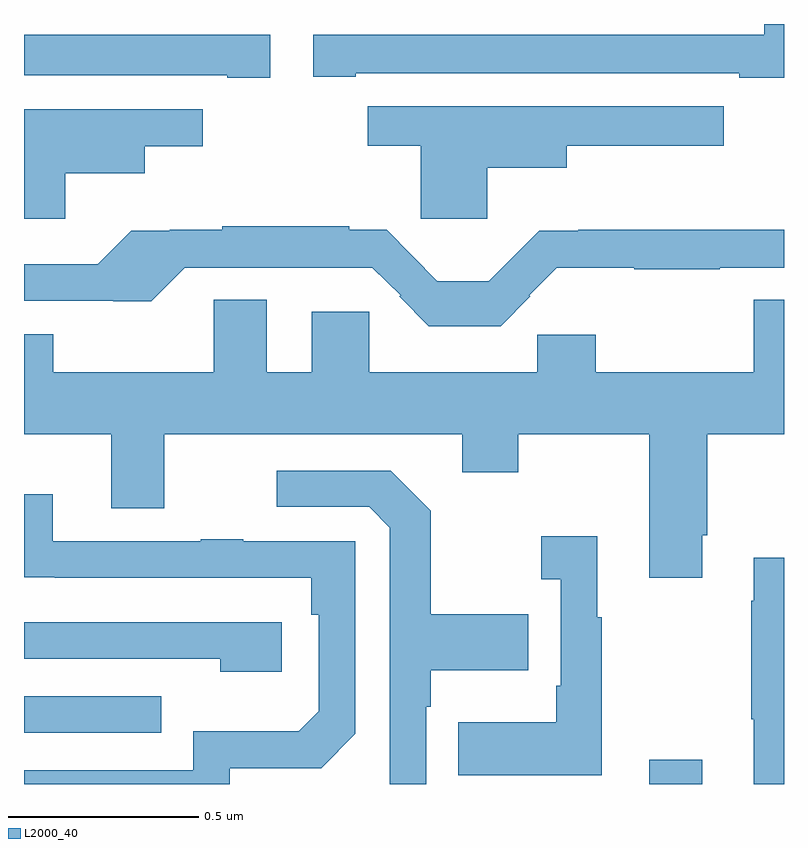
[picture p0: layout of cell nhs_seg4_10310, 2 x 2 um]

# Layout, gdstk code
import gdstk
lib = gdstk.Library(unit=1e-6, precision=1e-09)
def R(c, l, rs):  # rectangles x0, y0, x1, y1
    for r in rs: c.add(gdstk.rectangle(r[:2], r[2:], *l))
def P(c, l, *ps):  # polygons
    for p in ps: c.add(gdstk.Polygon(p, *l))
L2000_40 = (2000, 40)

nhs_seg4_10310 = lib.new_cell('nhs_seg4_10310')
R(nhs_seg4_10310, L2000_40, [(239.645,795.9,239.785,795.964), (238,796.035,238.361,796.131)])
P(nhs_seg4_10310, L2000_40, [(240,797.9),(239.948,797.9),(239.948,797.872),(238.761,797.872),(238.761,797.761),(238.873,797.761),(238.873,797.771),(239.882,797.771),(239.882,797.759),(240,797.759)],
  [(238.648,797.872),(238,797.872),(238,797.765),(238.535,797.765),(238.535,797.758),(238.648,797.758)],
  [(239.219,797.522),(239.428,797.522),(239.428,797.579),(239.842,797.579),(239.842,797.683),(238.905,797.683),(238.905,797.579),(239.044,797.579),(239.044,797.388),(239.219,797.388)],
  [(238.109,797.507),(238.318,797.507),(238.318,797.578),(238.471,797.578),(238.471,797.676),(238,797.676),(238,797.388),(238.109,797.388)],
  [(239.332,797.183),(239.33,797.186),(239.402,797.258),(239.606,797.258),(239.606,797.254),(239.831,797.254),(239.831,797.259),(240,797.259),(240,797.358),(239.458,797.358),(239.458,797.356),(239.356,797.356),(239.223,797.223),(239.088,797.223),(238.954,797.358),(238.856,797.358),(238.856,797.368),(238.522,797.368),(238.522,797.358),(238.384,797.358),(238.384,797.356),(238.282,797.356),(238.194,797.268),(238,797.268),(238,797.172),(238.235,797.172),(238.235,797.171),(238.335,797.171),(238.423,797.259),(238.917,797.259),(238.991,797.186),(238.988,797.183),(239.065,797.105),(239.255,797.105)],
  [(239.785,796.555),(239.798,796.555),(239.798,796.82),(240,796.82),(240,797.174),(239.92,797.174),(239.92,796.984),(239.505,796.984),(239.505,797.082),(239.351,797.082),(239.351,796.984),(238.908,796.984),(238.908,797.143),(238.757,797.143),(238.757,796.984),(238.639,796.984),(238.639,797.174),(238.499,797.174),(238.499,796.984),(238.077,796.984),(238.077,797.083),(238,797.083),(238,796.82),(238.229,796.82),(238.229,796.626),(238.369,796.626),(238.369,796.82),(239.153,796.82),(239.153,796.721),(239.301,796.721),(239.301,796.82),(239.645,796.82),(239.645,796.443),(239.785,796.443)],
  [(239.058,796.103),(239.071,796.103),(239.071,796.199),(239.327,796.199),(239.327,796.347),(239.071,796.347),(239.071,796.619),(238.965,796.725),(238.665,796.725),(238.665,796.629),(238.908,796.629),(238.962,796.575),(238.962,795.9),(239.058,795.9)],
  [(238.542,795.942),(238.782,795.942),(238.872,796.032),(238.872,796.539),(238.577,796.539),(238.577,796.544),(238.465,796.544),(238.465,796.539),(238.075,796.539),(238.075,796.663),(238,796.663),(238,796.444),(238.081,796.444),(238.081,796.443),(238.756,796.443),(238.756,796.346),(238.776,796.346),(238.776,796.092),(238.723,796.039),(238.446,796.039),(238.446,795.936),(238,795.936),(238,795.9),(238.542,795.9)],
  [(239.521,796.339),(239.509,796.339),(239.509,796.552),(239.361,796.552),(239.361,796.439),(239.412,796.439),(239.412,796.159),(239.4,796.159),(239.4,796.063),(239.143,796.063),(239.143,795.923),(239.521,795.923)],
  [(240,796.495),(239.921,796.495),(239.921,796.382),(239.914,796.382),(239.914,796.071),(239.921,796.071),(239.921,795.9),(240,795.9)],
  [(238.678,796.326),(238,796.326),(238,796.23),(238.517,796.23),(238.517,796.196),(238.678,796.196)])

lib.write_gds('nhs_seg4_10310.gds')
